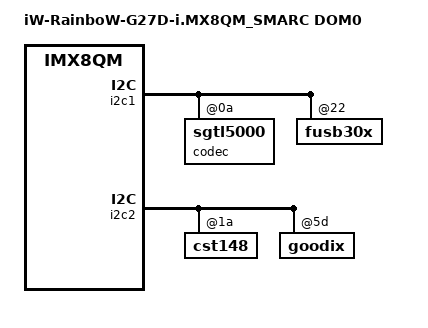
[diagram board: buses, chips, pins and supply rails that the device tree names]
/*
 * Copyright 2018 NXP
 *
 * This program is free software; you can redistribute it and/or
 * modify it under the terms of the GNU General Public License
 * as published by the Free Software Foundation; either version 2
 * of the License, or (at your option) any later version.
 *
 * This program is distributed in the hope that it will be useful,
 * but WITHOUT ANY WARRANTY; without even the implied warranty of
 * MERCHANTABILITY or FITNESS FOR A PARTICULAR PURPOSE.  See the
 * GNU General Public License for more details.
 */


#include "fsl-imx8qm-iwg27m.dts"
#include "fsl-imx8qm-xen.dtsi"

/ {
        model = "iW-RainboW-G27D-i.MX8QM_SMARC DOM0";
        compatible = "fsl,imx8qm-iwg27m", "fsl,imx8qm";

	chosen {
		#address-cells = <2>;
		#size-cells = <2>;

		/* Could be updated by U-Boot */
		module@0 {
			bootargs = "earlycon=xen console=hvc0 loglevel=8 root=/dev/mmcblk1p2 rw  rootwait";
			compatible = "xen,linux-zimage", "xen,multiboot-module";
			reg = <0x00000000 0x80a00000 0x00000000 0xf93a00>;
               };
	};

	domu {
		/*
		 * There are 5 MUs, 0A is used by Dom0, 1A is used
		 * by ATF, so for DomU, 2A/3A/4A could be used.
		 * SC_R_MU_0A
		 * SC_R_MU_1A
		 * SC_R_MU_2A
		 * SC_R_MU_3A
		 * SC_R_MU_4A
		 * The rsrcs and pads will be configured by uboot scu_rm cmd
		 */
		#address-cells = <1>;
		#size-cells = <0>;
		doma {
			compatible = "xen,domu";
			/*
			 * The name entry in VM configuration file
			 * needs to be same as here.
			 */
			domain_name = "DomU";
			/*
			 * The reg property will be updated by U-Boot to
			 * reflect the partition id.
			 */
			reg = <0>;
			init_on_rsrcs = <
				SC_R_MU_2A
			>;
                        /* Resources that will be transferred between
                         * M41 and AP, when support android auto.
                         */
                        rsrcs-m41-ap = <
                                SC_R_CSI_0
                                SC_R_CSI_0_PWM_0
                                SC_R_CSI_0_I2C_0
                                SC_R_LVDS_1
                                SC_R_LVDS_1_I2C_0
                                SC_R_LVDS_1_PWM_0
                                SC_R_DC_1
                                SC_R_DC_1_BLIT0
                                SC_R_DC_1_BLIT1
                                SC_R_DC_1_BLIT2
                                SC_R_DC_1_BLIT_OUT
                                SC_R_DC_1_WARP
                                SC_R_DC_1_VIDEO0
                                SC_R_DC_1_VIDEO1
                                SC_R_DC_1_FRAC0
                                SC_R_DC_1_PLL_0
                                SC_R_DC_1_PLL_1
                                SC_R_ISI_CH0
                        >;
			rsrcs = <
				SC_R_GPU_1_PID0
				SC_R_GPU_1_PID1
				SC_R_GPU_1_PID2
				SC_R_GPU_1_PID3
				SC_R_LVDS_1
				SC_R_LVDS_1_I2C_0
				SC_R_LVDS_1_PWM_0
                                SC_R_DC_0
                                SC_R_DC_0_BLIT0
                                SC_R_DC_0_BLIT1
                                SC_R_DC_0_BLIT2
                                SC_R_DC_0_BLIT_OUT
                                SC_R_DC_0_CAPTURE0
                                SC_R_DC_0_CAPTURE1
                                SC_R_DC_0_WARP
                                SC_R_DC_0_INTEGRAL0
                                SC_R_DC_0_INTEGRAL1
                                SC_R_DC_0_VIDEO0
                                SC_R_DC_0_VIDEO1
                                SC_R_DC_0_FRAC0
                                SC_R_DC_0_FRAC1
                                SC_R_DC_0_PLL_0
                                SC_R_DC_0_PLL_1
				SC_R_DC_1
				SC_R_DC_1_BLIT0
				SC_R_DC_1_BLIT1
				SC_R_DC_1_BLIT2
				SC_R_DC_1_BLIT_OUT
				SC_R_DC_1_CAPTURE0
				SC_R_DC_1_CAPTURE1
				SC_R_DC_1_WARP
				SC_R_DC_1_INTEGRAL0
				SC_R_DC_1_INTEGRAL1
				SC_R_DC_1_VIDEO0
				SC_R_DC_1_VIDEO1
				SC_R_DC_1_FRAC0
				SC_R_DC_1_FRAC1
				SC_R_DC_1_PLL_0
				SC_R_DC_1_PLL_1
				/* mipi 0 */
                                SC_R_MIPI_0
                                SC_R_MIPI_0_I2C_0
                                SC_R_MIPI_0_I2C_1
				SC_R_MIPI_0_PWM_0
				SC_R_MIPI_1
				SC_R_MIPI_1_I2C_0
				SC_R_MIPI_1_I2C_1
				SC_R_MIPI_1_PWM_0
				SC_R_HDMI
				SC_R_HDMI_I2C_0
				SC_R_SDHC_0
				SC_R_USB_0
				SC_R_USB_0_PHY
				SC_R_UART_1
				SC_R_DMA_0_CH14
				SC_R_DMA_0_CH15
				SC_R_MU_2A
                                /* pcie */
                                SC_R_PCIE_B
                                SC_R_PCIE_A
                                SC_R_SERDES_0
                                SC_R_HSIO_GPIO
				/* sai 1 */
				SC_R_SAI_1
				SC_R_DMA_2_CH14
				SC_R_DMA_2_CH15
				/* codec */
				SC_R_MCLK_OUT_1
				SC_R_MCLK_OUT_0
				SC_R_AUDIO_CLK_1
				SC_R_AUDIO_CLK_0
				SC_R_AUDIO_PLL_1
				SC_R_AUDIO_PLL_0
				/* intmux_cm41 */
				SC_R_M4_1_INTMUX
				/* usbotg3 */
                                SC_R_USB_2
                                SC_R_USB_2_PHY
				/* i2c1 */
				SC_R_I2C_1
				/* i2c2 */
				SC_R_I2C_2
				/* usdhc3 */
				SC_R_SDHC_2
				/* esai0 */
				SC_R_ESAI_0
                                SC_R_DMA_2_CH6
                                SC_R_DMA_2_CH7
				/* fec 1*/
				SC_R_ENET_0
				>;
                        /* Pads that will be transferred between M41 and AP */
                        pads-m41-ap = <
                                SC_P_LVDS1_I2C1_SCL
                                SC_P_LVDS1_I2C1_SDA
				SC_P_SIM0_PD
				SC_P_SIM0_RST
				SC_P_M41_I2C0_SCL
                        >;
			pads = <
                                /* i2c1_lvds1 */
                                SC_P_LVDS1_I2C1_SCL
                                SC_P_LVDS1_I2C1_SDA
				/* mipi_dsi0 */
				SC_P_MIPI_DSI0_I2C0_SCL
				SC_P_MIPI_DSI0_I2C0_SDA
				/* mipi_dsi1 */
				SC_P_MIPI_DSI1_I2C0_SCL
				SC_P_MIPI_DSI1_I2C0_SDA
				/* emmc */
				SC_P_EMMC0_CLK
				SC_P_EMMC0_CMD
				SC_P_EMMC0_DATA0
				SC_P_EMMC0_DATA1
				SC_P_EMMC0_DATA2
				SC_P_EMMC0_DATA3
				SC_P_EMMC0_DATA4
				SC_P_EMMC0_DATA5
				SC_P_EMMC0_DATA6
				SC_P_EMMC0_DATA7
				SC_P_EMMC0_STROBE
				SC_P_EMMC0_RESET_B
				/* usb otg */
				SC_P_USB_SS3_TC0
				/* uart1 */
				SC_P_UART1_RX
				SC_P_UART1_TX
				SC_P_UART1_CTS_B
				SC_P_UART1_RTS_B
				SC_P_QSPI1A_DQS
				/* mipi dsi 1 */
				/* SC_P_SIM0_PD_LSIO_GPIO0_IO03*/
				SC_P_SIM0_PD
				/* pinctrl_ts_active_iwg27m */
				/*SC_P_SIM0_RST_LSIO_GPIO0_IO01*/
				SC_P_SIM0_RST
				/*SC_P_M41_I2C0_SCL_LSIO_GPIO0_IO10*/
				SC_P_M41_I2C0_SCL
				/* pinctrl_type_c */
				SC_P_SIM0_CLK
				SC_P_USDHC1_STROBE
				/* pinctrl_hp_mic_detect */
				SC_P_SIM0_IO
				SC_P_SIM0_GPIO0_00
				/* sai 1 */
				SC_P_SAI1_RXD
				SC_P_SAI1_TXC
				SC_P_SAI1_TXD
				SC_P_SAI1_TXFS
				SC_P_MCLK_OUT0
				/* usb otg 3*/
				SC_P_USDHC1_RESET_B
				SC_P_MIPI_DSI1_I2C0_SDA
                                /*usbotgs typec */
                                SC_P_QSPI1A_SS0_B
                                SC_P_USB_SS3_TC3
                                SC_P_QSPI1A_DATA0
				/* i2c1 */
				SC_P_GPT0_CLK
				SC_P_GPT0_CAPTURE
				SC_P_GPT1_CLK
				SC_P_GPT1_CAPTURE
				/* usdhc3 wifi */
				SC_P_USDHC2_CLK
				SC_P_USDHC2_CMD
				SC_P_USDHC2_DATA0
				SC_P_USDHC2_DATA1
				SC_P_USDHC2_DATA2
				SC_P_USDHC2_DATA3
				SC_P_USDHC1_VSELECT
				SC_P_ESAI0_TX2_RX3
				SC_P_ESAI0_TX3_RX2
				SC_P_ESAI0_TX4_RX1
				/* fec1 */
				SC_P_ENET0_MDC
				SC_P_ENET0_MDIO
				SC_P_ENET0_RGMII_TX_CTL
				SC_P_ENET0_RGMII_TXC
				SC_P_ENET0_RGMII_TXD0
				SC_P_ENET0_RGMII_TXD1
				SC_P_ENET0_RGMII_TXD2
				SC_P_ENET0_RGMII_TXD3
				SC_P_ENET0_RGMII_RXC
				SC_P_ENET0_RGMII_RX_CTL
				SC_P_ENET0_RGMII_RXD0
				SC_P_ENET0_RGMII_RXD1
				SC_P_ENET0_RGMII_RXD2
				SC_P_ENET0_RGMII_RXD3
				SC_P_ENET0_REFCLK_125M_25M
				SC_P_PCIE_CTRL0_CLKREQ_B
				SC_P_PCIE_CTRL1_CLKREQ_B
				SC_P_PCIE_CTRL1_WAKE_B
				>;
                        gpios = <&gpio0 0 0>,
				<&gpio0 1 0>,
				<&gpio0 2 GPIO_ACTIVE_LOW>,
				<&gpio0 3 GPIO_ACTIVE_LOW>,
				<&gpio0 5 GPIO_ACTIVE_LOW>,
				<&gpio0 10 0>,
				<&gpio1 13 GPIO_ACTIVE_LOW>,
				<&gpio1 21 GPIO_ACTIVE_HIGH>,
                                <&gpio1 27 GPIO_ACTIVE_LOW>,
                                <&gpio1 28 GPIO_ACTIVE_LOW>,
				<&gpio2 28 0>,
				<&gpio2 29 0>,
				<&gpio2 30 0>,
				<&gpio4 3 GPIO_ACTIVE_LOW>,
                                <&gpio4 6 GPIO_ACTIVE_LOW>,
				<&gpio4 7 GPIO_ACTIVE_HIGH>,
                                <&gpio4 9 GPIO_ACTIVE_LOW>,
                                <&gpio4 11 GPIO_ACTIVE_HIGH>,
                                <&gpio4 19 GPIO_ACTIVE_HIGH>,
                                <&gpio4 22 GPIO_ACTIVE_LOW>,
                                <&gpio4 26 GPIO_ACTIVE_HIGH>,
                                <&gpio4 25 GPIO_ACTIVE_HIGH>,
                                <&gpio4 27 GPIO_ACTIVE_LOW>,
                                <&gpio4 29 GPIO_ACTIVE_LOW>,
				<&gpio5 23 0>,
				<&gpio5 28 0>,
				<&gpio5 29 0>,
				<&gpio5 30 0>;

		};
	};

	reserved-memory {
		/* global autoconfigured region for contiguous allocations */
		linux,cma {
			compatible = "shared-dma-pool";
			reusable;
			size = <0 0x28000000>;
			alloc-ranges = <0 0xd0000000 0 0x28000000>;
			linux,cma-default;
		};
	};

	/*
	display-subsystem {
		compatible = "fsl,imx-display-subsystem";
		ports = <&dpu1_disp0>, <&dpu1_disp1>;
	};
	*/
	/* Passthrough to domu */
	mu2: mu@5d1d0000 {
		compatible = "fsl,imx8-mu";
		reg = <0x0 0x5d1d0000 0x0 0x10000>;
		interrupts = <GIC_SPI 178 IRQ_TYPE_LEVEL_HIGH>;
		fsl,scu_ap_mu_id = <0>;
		xen,passthrough;
		status = "disabled";
	};

        cm41: cm41@1 {
                fsl,sc_rsrc_id = <SC_R_M4_1_PID0>,
                                 <SC_R_M4_1_PID1>,
                                 <SC_R_M4_1_PID2>,
                                 <SC_R_M4_1_PID3>,
                                 <SC_R_M4_1_PID4>;
                #stream-id-cells = <1>;
                iommus = <&smmu>;
                xen,passthrough;
        };

        irqsteer_cm41: irqsteer_cm41@0x51080000 {
                reg = <0x0 0x51080000 0x0 0x10000>;
                xen,passthrough;
        };

        mu_rpmsg1_b: mu_rpmsg1_b@0x5d2a0000 {
                reg = <0x0 0x5d2a0000 0x0 0x10000>;
                xen,passthrough;
        };
};

&mu_6_lpcg {
        xen,passthrough;
};

&mu_6_lpcg_b {
        xen,passthrough;
};

&mu_7_lpcg_b {
        xen,passthrough;
};

&usbotg1_lpcg {
        xen,passthrough;
};

&sdhc1_lpcg {
        xen,passthrough;
};

&sdhc3_lpcg {
        xen,passthrough;
};

&enet0_lpcg {
        xen,passthrough;
};

&lpuart1 {
        xen,passthrough;
};

&lpuart1_lpcg {
	xen,passthrough;
};


/*
 * DomU CM41 use this, but DomU OS not need this,
 * because smmu is enabled for CM41, so need to
 *create the lpuart2 mapping in SMMU
 */
&lpuart2 {
        xen,passthrough;
};

&lpuart2_lpcg {
        xen,passthrough;
};

&di_lvds1_lpcg {
        xen,passthrough;
};

&dc_1_lpcg {
        xen,passthrough;
};

&edma01 {
	#stream-id-cells = <1>;
	xen,passthrough;
	fsl,sc_rsrc_id = <SC_R_DMA_0_CH14>,
			 <SC_R_DMA_0_CH15>;
};

&edma20 {
        #stream-id-cells = <1>;
        xen,passthrough;
        /* Put edma20 and edma21 resource here */
        fsl,sc_rsrc_id = <SC_R_DMA_2_CH0>,
                         <SC_R_DMA_2_CH1>,
                         <SC_R_DMA_2_CH2>,
                         <SC_R_DMA_2_CH3>,
                         <SC_R_DMA_2_CH4>,
                         <SC_R_DMA_2_CH5>,
                         <SC_R_DMA_2_CH6>,
                         <SC_R_DMA_2_CH7>,
                         <SC_R_DMA_2_CH12>,
                         <SC_R_DMA_2_CH13>,
			 <SC_R_DMA_2_CH14>,
			 <SC_R_DMA_2_CH15>;
};

&edma21 {
        xen,passthrough;
};

&edma24 {
        xen,passthrough;
};

&edma25 {
	xen,passthrough;
};

/* SMMU */
&smmu {
	mmu-masters = <&dpu2 0x13>, <&dpu1 0x14>, <&gpu_3d1 0x15>,
		      <&usdhc1 0x12>, <&usbotg1 0x11>,
		      <&edma01 0x10>, <&edma20 0x9>, <&usdhc3 0x8>,
		      <&fec1 0x7>, <&usbotg3 0x4>;
};

&lvds_region1 {
        xen,passthrough;
};

&irqsteer_lvds1 {
        xen,passthrough;
};

&i2c1_lvds1 {
        xen,passthrough;
};

&ldb1_phy {
        xen,passthrough;
};

&ldb1 {
        xen,passthrough;
};

&ldb1_phy {
        xen,passthrough;
};

&ldb1 {
        xen,passthrough;
};

&lvds_region2 {
	xen,passthrough;
};

&irqsteer_lvds1 {
	xen,passthrough;
};

&i2c1_lvds1 {
	xen,passthrough;
};

&ldb1_phy {
	xen,passthrough;
};

&ldb1 {
	xen,passthrough;
};

&ldb2_phy {
        xen,passthrough;
};

&ldb2 {
        xen,passthrough;
};

&dpu1_intsteer {
        xen,passthrough;
};

&dpu1 {
        xen,passthrough;
        #stream-id-cells = <1>;
        iommus = <&smmu>;
};

&prg1 {
        xen,passthrough;
};

&prg2 {
        xen,passthrough;
};

&prg3 {
        xen,passthrough;
};

&prg4 {
        xen,passthrough;
};

&prg5 {
        xen,passthrough;
};

&prg6 {
        xen,passthrough;
};

&prg7 {
        xen,passthrough;
};

&prg8 {
        xen,passthrough;
};

&prg9 {
        xen,passthrough;
};

&dpr1_channel1 {
	xen,passthrough;
};

&dpr1_channel2 {
        xen,passthrough;
};

&dpr1_channel3 {
        xen,passthrough;
};

&dpr2_channel1 {
        xen,passthrough;
};

&dpr2_channel2 {
        xen,passthrough;
};

&dpr2_channel3 {
        xen,passthrough;
};

&dpu2_intsteer {
	xen,passthrough;
};

&dpu2 {
	xen,passthrough;
	#stream-id-cells = <1>;
	iommus = <&smmu>;
};

&prg10 {
	xen,passthrough;
};

&prg11 {
	xen,passthrough;
};

&prg12 {
	xen,passthrough;
};

&prg13 {
	xen,passthrough;
};

&prg14 {
	xen,passthrough;
};

&prg15 {
	xen,passthrough;
};

&prg16 {
	xen,passthrough;
};

&prg17 {
	xen,passthrough;
};

&prg18 {
	xen,passthrough;
};

&dpr3_channel1 {
	xen,passthrough;
};

&dpr3_channel2 {
	xen,passthrough;
};

&dpr3_channel3 {
	xen,passthrough;
};

&dpr4_channel1 {
	xen,passthrough;
};

&dpr4_channel2 {
	xen,passthrough;
};

&dpr4_channel3 {
	xen,passthrough;
};

/* GPU */
&pd_gpu1 {
	xen,passthrough;
};

&gpu_3d1 {
	xen,passthrough;
	#stream-id-cells = <1>;
	iommus = <&smmu>;
};

&imx8_gpu_ss {
	cores = <&gpu_3d0>;
	/delete-property/ reg;
	/delete-property/ reg-names;
};

&sata {
	status = "disabled";
};

&usdhc1 {
	xen,passthrough;
	#stream-id-cells = <1>;
	iommus = <&smmu>;
};

&usdhc3 {
        xen,passthrough;
        #stream-id-cells = <1>;
        iommus = <&smmu>;
};

&fec1 {
        xen,passthrough;
        #stream-id-cells = <1>;
        iommus = <&smmu>;
};

&usbotg1 {
	/* Hack reg */
	reg = <0x0 0x5b0d0000 0x0 0x1000>;
	xen,passthrough;
	#stream-id-cells = <1>;
	iommus = <&smmu>;
};

&usbmisc1 {
	/* Hack */
	xen,passthrough;
	status = "disabled";
};

&usbmisc2 {
        /* Hack */
        xen,passthrough;
        status = "disabled";
};

&usbphy1 {
	reg = <0x0 0x5b100000 0x0 0x1000>;
	xen,passthrough;
};

&gpio0 {
	xen,passthrough;
};

&gpio1 {
        xen,shared;
};

&gpio2 {
        xen,passthrough;
};

&gpio4 {
        xen,passthrough;
};

&gpio5 {
        xen,passthrough;
};

&irqsteer_dsi0 {
	xen,passthrough;
};

&mipi_dsi_csr1 {
        status = "disabled";
        xen,passthrough;
};

&mipi_dsi_phy1 {
        status = "disabled";
	xen,passthrough;
};

&mipi_dsi1 {
	xen,passthrough;
};

&mipi_dsi_bridge1 {
        status = "disabled";
	xen,passthrough;
};

&i2c1 {
	xen,passthrough;
	codec: sgtl5000@0a {
		xen,passthrough;
	};
	fusb30x@22 {
		xen,passthrough;
	};
};

&i2c2 {
	xen,passthrough;
	cst148@1a {
		xen,passthrough;
	};
	goodix@5d {
		xen,passthrough;
	};
};

&sai1 {
	xen,passthrough;
};

&esai0 {
        xen,passthrough;
};

&intmux_cm41 {
        xen,passthrough;
};

&usbotg3_lpcg {
        xen,passthrough;
};

&usbotg3 {
        xen,passthrough;
        #stream-id-cells = <1>;
        iommus = <&smmu>;
};

&usbh1 {
	xen,passthrough;
};

&usdhc3 {
	xen,passthrough;
	wilc_sdio {
		xen,passthrough;
	};
};

&aud_asrc_0_lpcg {
        xen,passthrough;
};

&aud_esai_0_lpcg {
        xen,passthrough;
};

&aud_pll_clk0_lpcg {
        xen,passthrough;
};

&aud_pll_clk1_lpcg {
        xen,passthrough;
};

&aud_mclkout0_lpcg {
        xen,passthrough;
};

&aud_mclkout1_lpcg {
        xen,passthrough;
};

&aud_rec_clk0_lpcg {
        xen,passthrough;
};

&aud_rec_clk1_lpcg {
        xen,passthrough;
};

&fec1 {
	xen,passthrough;
	mdio {
		xen,passthrough;
	};
};

&pciea{
	xen,passthrough;
};

&pcieb{
	xen,passthrough;
};
